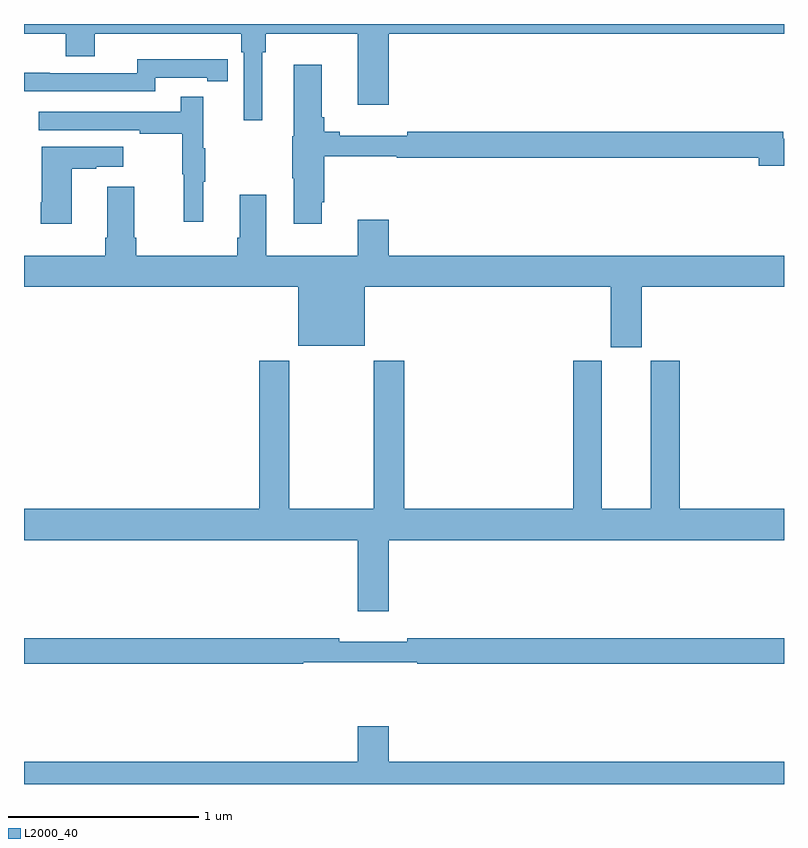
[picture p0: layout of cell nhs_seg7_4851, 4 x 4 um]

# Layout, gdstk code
import gdstk
lib = gdstk.Library(unit=1e-6, precision=1e-09)
def P(c, l, *ps):  # polygons
    for p in ps: c.add(gdstk.Polygon(p, *l))
L2000_40 = (2000, 40)

nhs_seg7_4851 = lib.new_cell('nhs_seg7_4851')
P(nhs_seg7_4851, L2000_40, [(415,1001.948),(415.22,1001.948),(415.22,1001.831),(415.372,1001.831),(415.372,1001.948),(416.144,1001.948),(416.144,1001.852),(416.157,1001.852),(416.157,1001.493),(416.254,1001.493),(416.254,1001.852),(416.273,1001.852),(416.273,1001.948),(416.756,1001.948),(416.756,1001.574),(416.92,1001.574),(416.92,1001.948),(419,1001.948),(419,1002),(415,1002)],
  [(415.692,1001.718),(415.964,1001.718),(415.964,1001.698),(416.072,1001.698),(416.072,1001.814),(415.964,1001.814),(415.964,1001.815),(415.596,1001.815),(415.596,1001.742),(415.136,1001.742),(415.136,1001.744),(415,1001.744),(415,1001.646),(415.692,1001.646)],
  [(416.566,1001.062),(416.579,1001.062),(416.579,1001.304),(416.962,1001.304),(416.962,1001.296),(418.868,1001.296),(418.868,1001.254),(419,1001.254),(419,1001.396),(418.996,1001.396),(418.996,1001.432),(417.016,1001.432),(417.016,1001.413),(416.662,1001.413),(416.662,1001.432),(416.579,1001.432),(416.579,1001.509),(416.566,1001.509),(416.566,1001.785),(416.42,1001.785),(416.42,1001.409),(416.413,1001.409),(416.413,1001.188),(416.42,1001.188),(416.42,1000.95),(416.566,1000.95)],
  [(415.943,1001.171),(415.954,1001.171),(415.954,1001.345),(415.943,1001.345),(415.943,1001.617),(415.825,1001.617),(415.825,1001.538),(415.077,1001.538),(415.077,1001.442),(415.609,1001.442),(415.609,1001.422),(415.833,1001.422),(415.833,1001.208),(415.84,1001.208),(415.84,1000.959),(415.943,1000.959)],
  [(415.252,1001.239),(415.379,1001.239),(415.379,1001.249),(415.522,1001.249),(415.522,1001.353),(415.094,1001.353),(415.094,1001.062),(415.087,1001.062),(415.087,1000.95),(415.252,1000.95)],
  [(418.252,1000.616),(419,1000.616),(419,1000.78),(416.92,1000.78),(416.92,1000.969),(416.756,1000.969),(416.756,1000.78),(416.275,1000.78),(416.275,1001.101),(416.135,1001.101),(416.135,1000.876),(416.123,1000.876),(416.123,1000.78),(415.592,1000.78),(415.592,1000.876),(415.579,1000.876),(415.579,1001.143),(415.439,1001.143),(415.439,1000.876),(415.427,1000.876),(415.427,1000.78),(415,1000.78),(415,1000.616),(416.444,1000.616),(416.444,1000.307),(416.794,1000.307),(416.794,1000.616),(418.088,1000.616),(418.088,1000.299),(418.252,1000.299)],
  [(419,999.448),(418.451,999.448),(418.451,1000.227),(418.298,1000.227),(418.298,999.448),(418.042,999.448),(418.042,1000.227),(417.89,1000.227),(417.89,999.448),(417.002,999.448),(417.002,1000.228),(416.842,1000.228),(416.842,999.448),(416.397,999.448),(416.397,1000.228),(416.237,1000.228),(416.237,999.448),(415,999.448),(415,999.284),(416.756,999.284),(416.756,998.91),(416.92,998.91),(416.92,999.284),(419,999.284)],
  [(416.47,998.64),(417.07,998.64),(417.07,998.632),(419,998.632),(419,998.768),(417.016,998.768),(417.016,998.749),(416.66,998.749),(416.66,998.768),(415,998.768),(415,998.632),(416.47,998.632)],
  [(419,998.116),(416.92,998.116),(416.92,998.305),(416.756,998.305),(416.756,998.116),(415,998.116),(415,998),(419,998)])

lib.write_gds('nhs_seg7_4851.gds')
